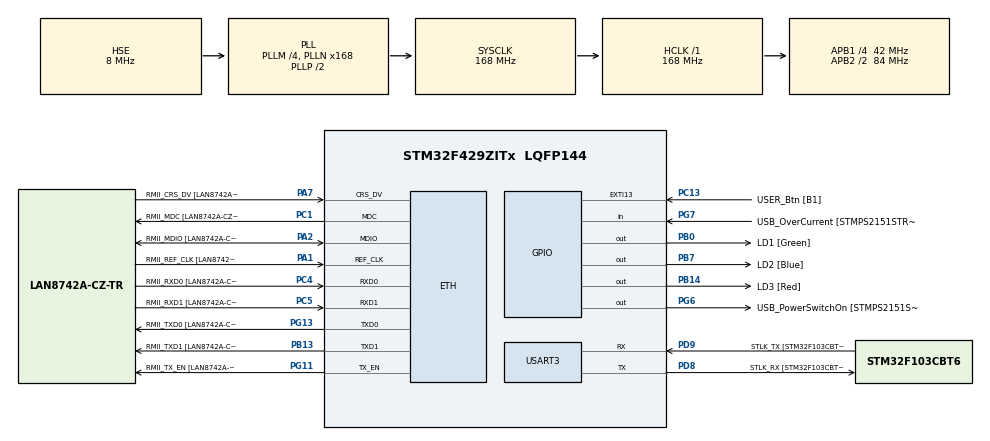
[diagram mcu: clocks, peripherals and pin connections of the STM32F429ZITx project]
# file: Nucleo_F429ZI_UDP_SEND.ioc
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ETH.MediaInterface=HAL_ETH_RMII_MODE
ETH.PHY_Name=LAN8742A_PHY_ADDRESS
ETH.PHY_Value=0
ETH.PhyAddress=0
LWIP.BSP.number=1
LWIP.GATEWAY_ADDRESS=192.168.000.001
LWIP.IP_ADDRESS=192.168.000.025
LWIP.LWIP_DHCP=0
LWIP.NETMASK_ADDRESS=255.255.255.000
LWIP.Version=v2.1.2_Cube
LWIP0.BSP.STBoard=false
LWIP0.BSP.api=BSP_COMPONENT_DRIVER
LWIP0.BSP.component=LAN8742
LWIP0.BSP.instance=LAN8742
LWIP0.BSP.name=Driver_PHY
LWIP0.BSP.semaphore=S_LAN8742
LWIP0.BSP.solution=LAN8742
Mcu.Family=STM32F4
Mcu.Name=STM32F429ZITx
Mcu.Package=LQFP144
NVIC.EXTI15_10_IRQn=true\:0\:0\:false\:true\:true\:1\:true\:true\:true
NVIC.PriorityGroup=NVIC_PRIORITYGROUP_4
PA1.GPIO_Label=RMII_REF_CLK [LAN8742A-CZ-TR_REFCLK0]
PA1.Mode=RMII
PA1.Signal=ETH_REF_CLK
PA13.GPIO_Label=TMS
PA13.Mode=Serial_Wire
PA13.Signal=SYS_JTMS-SWDIO
PA14.GPIO_Label=TCK
PA14.Mode=Serial_Wire
PA14.Signal=SYS_JTCK-SWCLK
PA2.GPIO_Label=RMII_MDIO [LAN8742A-CZ-TR_MDIO]
PA2.Mode=RMII
PA2.Signal=ETH_MDIO
PA7.GPIO_Label=RMII_CRS_DV [LAN8742A-CZ-TR_CRS_DV]
PA7.Mode=RMII
PA7.Signal=ETH_CRS_DV
PB0.GPIO_Label=LD1 [Green]
PB0.Signal=GPIO_Output
PB13.GPIO_Label=RMII_TXD1 [LAN8742A-CZ-TR_TXD1]
PB13.Mode=RMII
PB13.Signal=ETH_TXD1
PB14.GPIO_Label=LD3 [Red]
PB14.Signal=GPIO_Output
PB7.GPIO_Label=LD2 [Blue]
PB7.Signal=GPIO_Output
PC1.GPIO_Label=RMII_MDC [LAN8742A-CZ-TR_MDC]
PC1.Mode=RMII
PC1.Signal=ETH_MDC
PC13.GPIO_Label=USER_Btn [B1]
PC13.Signal=GPXTI13
PC14/OSC32_IN.Mode=LSE-External-Oscillator
PC14/OSC32_IN.Signal=RCC_OSC32_IN
PC15/OSC32_OUT.Mode=LSE-External-Oscillator
PC15/OSC32_OUT.Signal=RCC_OSC32_OUT
PC4.GPIO_Label=RMII_RXD0 [LAN8742A-CZ-TR_RXD0]
PC4.Mode=RMII
PC4.Signal=ETH_RXD0
PC5.GPIO_Label=RMII_RXD1 [LAN8742A-CZ-TR_RXD1]
PC5.Mode=RMII
PC5.Signal=ETH_RXD1
PD8.GPIO_Label=STLK_RX [STM32F103CBT6_PA3]
PD8.Mode=Asynchronous
PD8.Signal=USART3_TX
PD9.GPIO_Label=STLK_TX [STM32F103CBT6_PA2]
PD9.Mode=Asynchronous
PD9.Signal=USART3_RX
PG11.GPIO_Label=RMII_TX_EN [LAN8742A-CZ-TR_TXEN]
PG11.Mode=RMII
PG11.Signal=ETH_TX_EN
PG13.GPIO_Label=RMII_TXD0 [LAN8742A-CZ-TR_TXD0]
PG13.Mode=RMII
PG13.Signal=ETH_TXD0
PG6.GPIO_Label=USB_PowerSwitchOn [STMPS2151STR_EN]
PG6.Signal=GPIO_Output
PG7.GPIO_Label=USB_OverCurrent [STMPS2151STR_FAULT]
PG7.Signal=GPIO_Input
PH0/OSC_IN.GPIO_Label=MCO [STM32F103CBT6_PA8]
PH0/OSC_IN.Mode=HSE-External-Clock-Source
PH0/OSC_IN.Signal=RCC_OSC_IN
PH1/OSC_OUT.Mode=HSE-External-Clock-Source
PH1/OSC_OUT.Signal=RCC_OSC_OUT
ProjectManager.HeapSize=0x200
ProjectManager.StackSize=0x400
ProjectManager.TargetToolchain=STM32CubeIDE
RCC.48MHZClocksFreq_Value=48000000
RCC.AHBFreq_Value=168000000
RCC.APB1CLKDivider=RCC_HCLK_DIV4
RCC.APB1Freq_Value=42000000
RCC.APB1TimFreq_Value=84000000
RCC.APB2CLKDivider=RCC_HCLK_DIV2
RCC.APB2Freq_Value=84000000
RCC.APB2TimCLKDivider=2
RCC.APB2TimFreq_Value=168000000
RCC.CortexFreq_Value=168000000
RCC.HCLKFreq_Value=168000000
RCC.HSE_VALUE=8000000
RCC.HSI_VALUE=16000000
RCC.PLLM=4
RCC.PLLMUL=RCC_PLL_MUL9
RCC.PLLN=168
RCC.PLLQ=7
RCC.PLLSourceVirtual=RCC_PLLSOURCE_HSE
RCC.PRESCALERUSB=RCC_USBCLKSOURCE_PLL_DIV1_5
RCC.SYSCLKFreq_VALUE=168000000
RCC.SYSCLKSource=RCC_SYSCLKSOURCE_PLLCLK
RCC.SYSCLKSourceVirtual=RCC_SYSCLKSOURCE_PLLCLK
RCC.USBFreq_Value=48000000
RCC.VCOOutputFreq_Value=336000000
USART3.VirtualMode=VM_ASYNC
VP_LWIP_VS_Enabled.Mode=Enabled
board=NUCLEO-F429ZI

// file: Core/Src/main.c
/* USER CODE BEGIN Header */
/**
  ******************************************************************************
  * @file           : main.c
  * @brief          : Main program body
  ******************************************************************************
  * @attention
  *
  * Copyright (c) 2023 STMicroelectronics.
  * All rights reserved.
  *
  * This software is licensed under terms that can be found in the LICENSE file
  * in the root directory of this software component.
  * If no LICENSE file comes with this software, it is provided AS-IS.
  *
  ******************************************************************************
  */
/* USER CODE END Header */
#include "main.h"
#include "lwip.h"

/* USER CODE BEGIN Includes */
#include "udp_echoclient.h"
/* USER CODE END Includes */

UART_HandleTypeDef huart3;

/* USER CODE BEGIN PV */
int _write(int file, char *ptr, int len) {
	if (HAL_UART_Transmit(&huart3, (uint8_t*) ptr, len, 1000) == HAL_OK)
		return len;
	return -1;
}
/* USER CODE END PV */

void SystemClock_Config(void);
static void MX_GPIO_Init(void);
static void MX_USART3_UART_Init(void);
static void MX_NVIC_Init(void);

/* USER CODE BEGIN 0 */
void HAL_GPIO_EXTI_Callback(uint16_t GPIO_Pin)
{
   switch(GPIO_Pin)
   {
      case GPIO_PIN_13:
    	  	  printf("udp_send\n");
			  /*Send udp data */
			  udp_echoclient_send();

      break;
   }
}
/* USER CODE END 0 */

int main(void)
{

  /* MCU Configuration--------------------------------------------------------*/

  /* Reset of all peripherals, Initializes the Flash interface and the Systick. */
  HAL_Init();

  /* Configure the system clock */
  SystemClock_Config();

  /* Initialize all configured peripherals */
  MX_GPIO_Init();
  MX_USART3_UART_Init();
  MX_LWIP_Init();

  /* Initialize interrupts */
  MX_NVIC_Init();
  /* USER CODE BEGIN 2 */

  /* udp client connect */
      udp_echoclient_connect();
      printf("Ready!\n");

  /* USER CODE END 2 */

  /* Infinite loop */
  /* USER CODE BEGIN WHILE */
  while (1)
  {
	  /* Read a received packet from the Ethernet buffers and send it
	     to the lwIP for handling */
	  ethernetif_input(&gnetif);

	  /* Handle timeouts */
	  sys_check_timeouts();

    /* USER CODE END WHILE */

  }
}

void SystemClock_Config(void)
{
  RCC_OscInitTypeDef RCC_OscInitStruct = {0};
  RCC_ClkInitTypeDef RCC_ClkInitStruct = {0};

  /** Configure the main internal regulator output voltage
  */
  __HAL_RCC_PWR_CLK_ENABLE();
  __HAL_PWR_VOLTAGESCALING_CONFIG(PWR_REGULATOR_VOLTAGE_SCALE1);

  /** Initializes the RCC Oscillators according to the specified parameters
  * in the RCC_OscInitTypeDef structure.
  */
  RCC_OscInitStruct.OscillatorType = RCC_OSCILLATORTYPE_HSE;
  RCC_OscInitStruct.HSEState = RCC_HSE_BYPASS;
  RCC_OscInitStruct.PLL.PLLState = RCC_PLL_ON;
  RCC_OscInitStruct.PLL.PLLSource = RCC_PLLSOURCE_HSE;
  RCC_OscInitStruct.PLL.PLLM = 4;
  RCC_OscInitStruct.PLL.PLLN = 168;
  RCC_OscInitStruct.PLL.PLLP = RCC_PLLP_DIV2;
  RCC_OscInitStruct.PLL.PLLQ = 7;
  if (HAL_RCC_OscConfig(&RCC_OscInitStruct) != HAL_OK)
  {
    Error_Handler();
  }

  /** Initializes the CPU, AHB and APB buses clocks
  */
  RCC_ClkInitStruct.ClockType = RCC_CLOCKTYPE_HCLK|RCC_CLOCKTYPE_SYSCLK
                              |RCC_CLOCKTYPE_PCLK1|RCC_CLOCKTYPE_PCLK2;
  RCC_ClkInitStruct.SYSCLKSource = RCC_SYSCLKSOURCE_PLLCLK;
  RCC_ClkInitStruct.AHBCLKDivider = RCC_SYSCLK_DIV1;
  RCC_ClkInitStruct.APB1CLKDivider = RCC_HCLK_DIV4;
  RCC_ClkInitStruct.APB2CLKDivider = RCC_HCLK_DIV2;

  if (HAL_RCC_ClockConfig(&RCC_ClkInitStruct, FLASH_LATENCY_5) != HAL_OK)
  {
    Error_Handler();
  }
}

/**
  * @brief NVIC Configuration.
  * @retval None
  */
static void MX_NVIC_Init(void)
{
  /* EXTI15_10_IRQn interrupt configuration */
  HAL_NVIC_SetPriority(EXTI15_10_IRQn, 0, 0);
  HAL_NVIC_EnableIRQ(EXTI15_10_IRQn);
}

static void MX_USART3_UART_Init(void)
{

  huart3.Instance = USART3;
  huart3.Init.BaudRate = 115200;
  huart3.Init.WordLength = UART_WORDLENGTH_8B;
  huart3.Init.StopBits = UART_STOPBITS_1;
  huart3.Init.Parity = UART_PARITY_NONE;
  huart3.Init.Mode = UART_MODE_TX_RX;
  huart3.Init.HwFlowCtl = UART_HWCONTROL_NONE;
  huart3.Init.OverSampling = UART_OVERSAMPLING_16;
  if (HAL_UART_Init(&huart3) != HAL_OK)
  {
    Error_Handler();
  }

}

static void MX_GPIO_Init(void)
{
  GPIO_InitTypeDef GPIO_InitStruct = {0};

  /* GPIO Ports Clock Enable */
  __HAL_RCC_GPIOC_CLK_ENABLE();
  __HAL_RCC_GPIOH_CLK_ENABLE();
  __HAL_RCC_GPIOA_CLK_ENABLE();
  __HAL_RCC_GPIOB_CLK_ENABLE();
  __HAL_RCC_GPIOD_CLK_ENABLE();
  __HAL_RCC_GPIOG_CLK_ENABLE();

  /*Configure GPIO pin Output Level */
  HAL_GPIO_WritePin(GPIOB, LD1_Pin|LD3_Pin|LD2_Pin, GPIO_PIN_RESET);

  /*Configure GPIO pin Output Level */
  HAL_GPIO_WritePin(USB_PowerSwitchOn_GPIO_Port, USB_PowerSwitchOn_Pin, GPIO_PIN_RESET);

  /*Configure GPIO pin : USER_Btn_Pin */
  GPIO_InitStruct.Pin = USER_Btn_Pin;
  GPIO_InitStruct.Mode = GPIO_MODE_IT_RISING;
  GPIO_InitStruct.Pull = GPIO_NOPULL;
  HAL_GPIO_Init(USER_Btn_GPIO_Port, &GPIO_InitStruct);

  /*Configure GPIO pins : LD1_Pin LD3_Pin LD2_Pin */
  GPIO_InitStruct.Pin = LD1_Pin|LD3_Pin|LD2_Pin;
  GPIO_InitStruct.Mode = GPIO_MODE_OUTPUT_PP;
  GPIO_InitStruct.Pull = GPIO_NOPULL;
  GPIO_InitStruct.Speed = GPIO_SPEED_FREQ_LOW;
  HAL_GPIO_Init(GPIOB, &GPIO_InitStruct);

  /*Configure GPIO pin : USB_PowerSwitchOn_Pin */
  GPIO_InitStruct.Pin = USB_PowerSwitchOn_Pin;
  GPIO_InitStruct.Mode = GPIO_MODE_OUTPUT_PP;
  GPIO_InitStruct.Pull = GPIO_NOPULL;
  GPIO_InitStruct.Speed = GPIO_SPEED_FREQ_LOW;
  HAL_GPIO_Init(USB_PowerSwitchOn_GPIO_Port, &GPIO_InitStruct);

  /*Configure GPIO pin : USB_OverCurrent_Pin */
  GPIO_InitStruct.Pin = USB_OverCurrent_Pin;
  GPIO_InitStruct.Mode = GPIO_MODE_INPUT;
  GPIO_InitStruct.Pull = GPIO_NOPULL;
  HAL_GPIO_Init(USB_OverCurrent_GPIO_Port, &GPIO_InitStruct);

}

void Error_Handler(void)
{
  __disable_irq();
  while (1)
  {
  }
}
